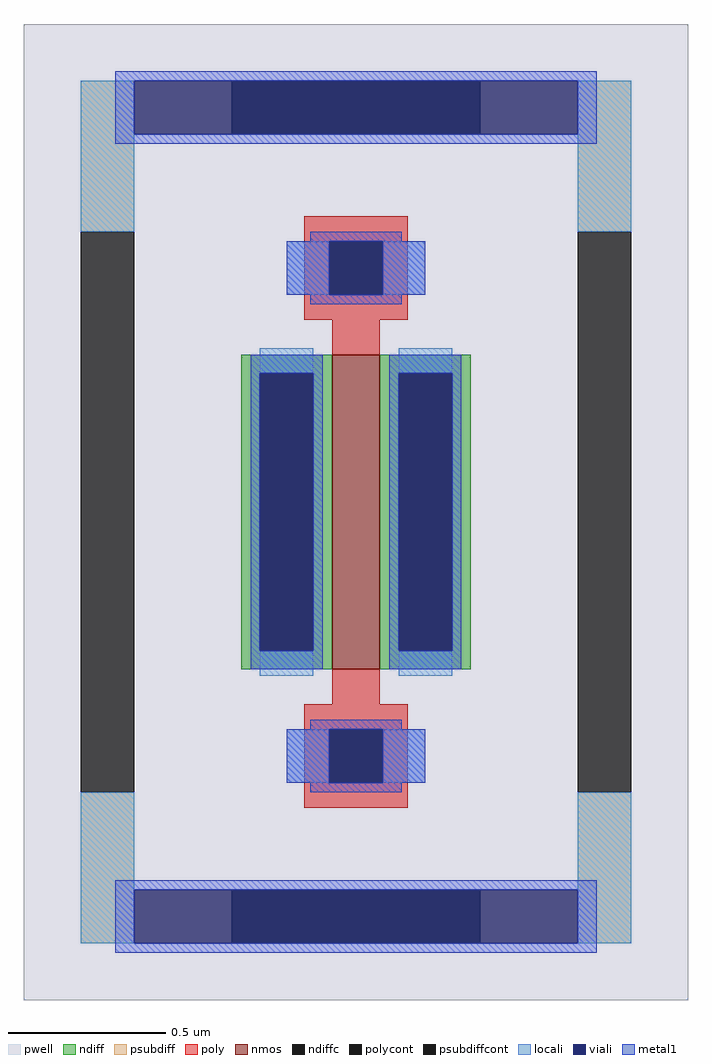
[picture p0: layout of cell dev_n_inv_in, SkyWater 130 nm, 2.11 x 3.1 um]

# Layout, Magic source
magic
tech sky130A
magscale 1 2
<< pwell >>
rect -211 -310 211 310
<< nmos >>
rect -15 -100 15 100
<< ndiff >>
rect -73 88 -15 100
rect -73 -88 -61 88
rect -27 -88 -15 88
rect -73 -100 -15 -88
rect 15 88 73 100
rect 15 -88 27 88
rect 61 -88 73 88
rect 15 -100 73 -88
<< ndiffc >>
rect -61 -88 -27 88
rect 27 -88 61 88
<< psubdiff >>
rect -175 240 -79 274
rect 79 240 175 274
rect -175 178 -141 240
rect 141 178 175 240
rect -175 -240 -141 -178
rect 141 -240 175 -178
rect -175 -274 -79 -240
rect 79 -274 175 -240
<< psubdiffcont >>
rect -79 240 79 274
rect -175 -178 -141 178
rect 141 -178 175 178
rect -79 -274 79 -240
<< poly >>
rect -33 172 33 188
rect -33 138 -17 172
rect 17 138 33 172
rect -33 122 33 138
rect -15 100 15 122
rect -15 -122 15 -100
rect -33 -138 33 -122
rect -33 -172 -17 -138
rect 17 -172 33 -138
rect -33 -188 33 -172
<< polycont >>
rect -17 138 17 172
rect -17 -172 17 -138
<< locali >>
rect -175 178 -141 274
rect 141 178 175 274
rect -44 138 -17 172
rect 17 138 44 172
rect -61 88 -27 104
rect -61 -104 -27 -88
rect 27 88 61 104
rect 27 -104 61 -88
rect -44 -172 -17 -138
rect 17 -172 44 -138
rect -175 -274 -141 -178
rect 141 -274 175 -178
<< viali >>
rect -141 240 -79 274
rect -79 240 79 274
rect 79 240 141 274
rect -17 138 17 172
rect -61 -88 -27 88
rect 27 -88 61 88
rect -17 -172 17 -138
rect -141 -274 -79 -240
rect -79 -274 79 -240
rect 79 -274 141 -240
<< metal1 >>
rect -153 274 153 280
rect -153 240 -141 274
rect 141 240 153 274
rect -153 234 153 240
rect -29 172 29 178
rect -44 138 -17 172
rect 17 138 44 172
rect -29 132 29 138
rect -67 88 -21 100
rect -67 -88 -61 88
rect -27 -88 -21 88
rect -67 -100 -21 -88
rect 21 88 67 100
rect 21 -88 27 88
rect 61 -88 67 88
rect 21 -100 67 -88
rect -29 -138 29 -132
rect -44 -172 -17 -138
rect 17 -172 44 -138
rect -29 -178 29 -172
rect -153 -240 153 -234
rect -153 -274 -141 -240
rect 141 -274 153 -240
rect -153 -280 153 -274
<< properties >>
string FIXED_BBOX -158 -257 158 257
<< end >>
